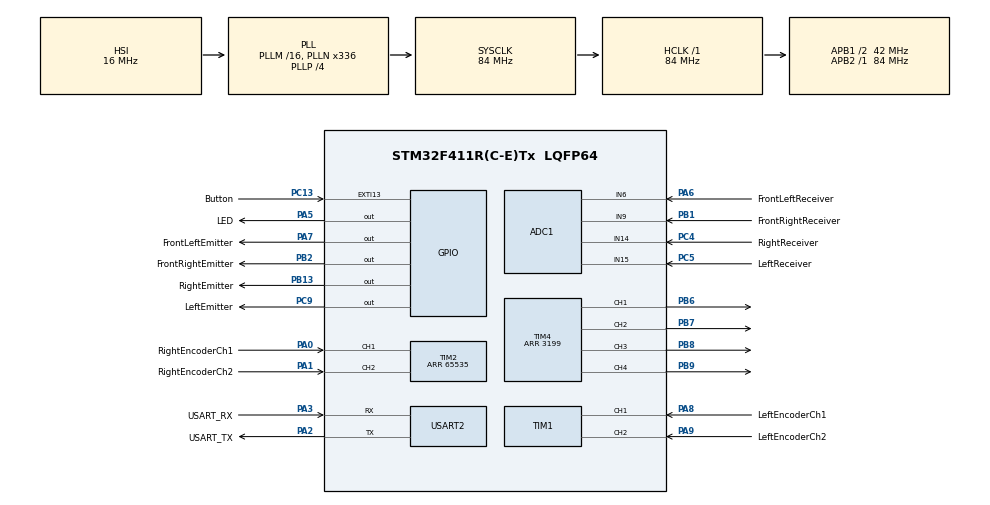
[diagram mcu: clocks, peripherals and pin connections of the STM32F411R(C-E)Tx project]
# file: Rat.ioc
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ADC1.Channel-0\#ChannelRegularConversion=ADC_CHANNEL_15
ADC1.ContinuousConvMode=ENABLE
ADC1.DMAContinuousRequests=ENABLE
ADC1.NbrOfConversionFlag=1
ADC1.Rank-0\#ChannelRegularConversion=1
ADC1.SamplingTime-0\#ChannelRegularConversion=ADC_SAMPLETIME_3CYCLES
ADC1.master=1
Dma.ADC1.0.Direction=DMA_PERIPH_TO_MEMORY
Dma.ADC1.0.FIFOMode=DMA_FIFOMODE_DISABLE
Dma.ADC1.0.Instance=DMA2_Stream0
Dma.ADC1.0.MemDataAlignment=DMA_MDATAALIGN_HALFWORD
Dma.ADC1.0.MemInc=DMA_MINC_ENABLE
Dma.ADC1.0.Mode=DMA_CIRCULAR
Dma.ADC1.0.PeriphDataAlignment=DMA_PDATAALIGN_HALFWORD
Dma.ADC1.0.PeriphInc=DMA_PINC_DISABLE
Dma.ADC1.0.Priority=DMA_PRIORITY_LOW
Dma.Request0=ADC1
Mcu.Family=STM32F4
Mcu.Name=STM32F411R(C-E)Tx
Mcu.Package=LQFP64
NVIC.DMA2_Stream0_IRQn=true\:0\:0\:false\:false\:true\:false\:true\:true
NVIC.EXTI15_10_IRQn=true\:0\:0\:false\:false\:true\:true\:true\:true
NVIC.PriorityGroup=NVIC_PRIORITYGROUP_0
NVIC.TIM4_IRQn=true\:0\:0\:false\:false\:true\:true\:true\:true
PA0-WKUP.GPIO_Label=RightEncoderCh1
PA0-WKUP.Signal=S_TIM2_CH1_ETR
PA1.GPIO_Label=RightEncoderCh2
PA1.Signal=S_TIM2_CH2
PA13.GPIO_Label=TMS
PA13.Mode=Serial_Wire
PA13.Signal=SYS_JTMS-SWDIO
PA14.GPIO_Label=TCK
PA14.Mode=Serial_Wire
PA14.Signal=SYS_JTCK-SWCLK
PA2.GPIO_Label=USART_TX
PA2.Mode=Asynchronous
PA2.Signal=USART2_TX
PA3.GPIO_Label=USART_RX
PA3.Mode=Asynchronous
PA3.Signal=USART2_RX
PA5.GPIO_Label=LED
PA5.Signal=GPIO_Output
PA6.GPIO_Label=FrontLeftReceiver
PA6.Signal=ADCx_IN6
PA7.GPIO_Label=FrontLeftEmitter
PA7.Signal=GPIO_Output
PA8.GPIO_Label=LeftEncoderCh1
PA8.Signal=S_TIM1_CH1
PA9.GPIO_Label=LeftEncoderCh2
PA9.Signal=S_TIM1_CH2
PB1.GPIO_Label=FrontRightReceiver
PB1.Signal=ADCx_IN9
PB13.GPIO_Label=RightEmitter
PB13.Signal=GPIO_Output
PB2.GPIO_Label=FrontRightEmitter
PB2.Signal=GPIO_Output
PB3.GPIO_Label=SWO
PB3.Signal=SYS_JTDO-SWO
PB6.Signal=S_TIM4_CH1
PB7.Signal=S_TIM4_CH2
PB8.Signal=S_TIM4_CH3
PB9.Signal=S_TIM4_CH4
PC13-ANTI_TAMP.GPIO_Label=Button
PC13-ANTI_TAMP.GPIO_ModeDefaultEXTI=GPIO_MODE_IT_RISING_FALLING
PC13-ANTI_TAMP.Signal=GPXTI13
PC14-OSC32_IN.Mode=LSE-External-Oscillator
PC14-OSC32_IN.Signal=RCC_OSC32_IN
PC15-OSC32_OUT.Mode=LSE-External-Oscillator
PC15-OSC32_OUT.Signal=RCC_OSC32_OUT
PC4.GPIO_Label=RightReceiver
PC4.Signal=ADCx_IN14
PC5.GPIO_Label=LeftReceiver
PC5.Signal=ADCx_IN15
PC9.GPIO_Label=LeftEmitter
PC9.Signal=GPIO_Output
PH0\ -\ OSC_IN.Mode=HSE-External-Clock-Source
PH0\ -\ OSC_IN.Signal=RCC_OSC_IN
PH1\ -\ OSC_OUT.Mode=HSE-External-Clock-Source
PH1\ -\ OSC_OUT.Signal=RCC_OSC_OUT
ProjectManager.HeapSize=0x200
ProjectManager.StackSize=0x400
ProjectManager.TargetToolchain=STM32CubeIDE
RCC.48MHZClocksFreq_Value=84000000
RCC.AHBFreq_Value=84000000
RCC.APB1CLKDivider=RCC_HCLK_DIV2
RCC.APB1Freq_Value=42000000
RCC.APB1TimFreq_Value=84000000
RCC.APB2Freq_Value=84000000
RCC.APB2TimFreq_Value=84000000
RCC.CortexFreq_Value=84000000
RCC.FLatency-AdvancedSettings=FLASH_LATENCY_2
RCC.HCLKFreq_Value=84000000
RCC.HSE_VALUE=8000000
RCC.HSI_VALUE=16000000
RCC.PLLN=336
RCC.PLLP=RCC_PLLP_DIV4
RCC.SYSCLKFreq_VALUE=84000000
RCC.SYSCLKSource=RCC_SYSCLKSOURCE_PLLCLK
RCC.VCOOutputFreq_Value=336000000
SH.ADCx_IN14.0=ADC1_IN14,IN14
SH.ADCx_IN15.0=ADC1_IN15,IN15
SH.ADCx_IN6.0=ADC1_IN6,IN6
SH.ADCx_IN9.0=ADC1_IN9,IN9
SH.S_TIM1_CH1.0=TIM1_CH1,Encoder_Interface
SH.S_TIM1_CH2.0=TIM1_CH2,Encoder_Interface
SH.S_TIM2_CH1_ETR.0=TIM2_CH1,Encoder_Interface
SH.S_TIM2_CH2.0=TIM2_CH2,Encoder_Interface
SH.S_TIM4_CH1.0=TIM4_CH1,PWM Generation1 CH1
SH.S_TIM4_CH2.0=TIM4_CH2,PWM Generation2 CH2
SH.S_TIM4_CH3.0=TIM4_CH3,PWM Generation3 CH3
SH.S_TIM4_CH4.0=TIM4_CH4,PWM Generation4 CH4
TIM1.EncoderMode=TIM_ENCODERMODE_TI12
TIM2.EncoderMode=TIM_ENCODERMODE_TI12
TIM2.Period=65535
TIM4.Channel-PWM\ Generation1\ CH1=TIM_CHANNEL_1
TIM4.Channel-PWM\ Generation2\ CH2=TIM_CHANNEL_2
TIM4.Channel-PWM\ Generation3\ CH3=TIM_CHANNEL_3
TIM4.Channel-PWM\ Generation4\ CH4=TIM_CHANNEL_4
TIM4.Period=3199
USART2.VirtualMode=VM_ASYNC
board=NUCLEO-F411RE

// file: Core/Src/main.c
/* USER CODE BEGIN Header */
/**
  ******************************************************************************
  * @file           : main.c
  * @brief          : Main program body
  ******************************************************************************
  * @attention
  *
  * Copyright (c) 2022 STMicroelectronics.
  * All rights reserved.
  *
  * This software is licensed under terms that can be found in the LICENSE file
  * in the root directory of this software component.
  * If no LICENSE file comes with this software, it is provided AS-IS.
  *
  ******************************************************************************
  */
/* USER CODE END Header */
#include "main.h"

/* USER CODE BEGIN Includes */
#include "encoders.h"
#include "motors.h"
#include "controller.h"
#include "delay.h"
#include "irs.h"
#include "pid.h"
/* USER CODE END Includes */

ADC_HandleTypeDef hadc1;
DMA_HandleTypeDef hdma_adc1;

TIM_HandleTypeDef htim1;
TIM_HandleTypeDef htim2;
TIM_HandleTypeDef htim4;

UART_HandleTypeDef huart2;

/* USER CODE BEGIN PV */
int16_t left_counts = 0;
int16_t right_counts = 0;

uint16_t ir_front_left = 0;
uint16_t ir_front_right = 0;

uint16_t ir_right = 0;
uint16_t ir_left = 0;

/* USER CODE END PV */

void SystemClock_Config(void);
static void MX_GPIO_Init(void);
static void MX_DMA_Init(void);
static void MX_USART2_UART_Init(void);
static void MX_TIM1_Init(void);
static void MX_TIM2_Init(void);
static void MX_TIM4_Init(void);
static void MX_ADC1_Init(void);

int main(void)
{

  /* MCU Configuration--------------------------------------------------------*/

  /* Reset of all peripherals, Initializes the Flash interface and the Systick. */
  HAL_Init();

  /* USER CODE BEGIN Init */
  Delay_Init();
  /* USER CODE END Init */

  /* Configure the system clock */
  SystemClock_Config();

  /* Initialize all configured peripherals */
  MX_GPIO_Init();
  MX_DMA_Init();
  MX_USART2_UART_Init();
  MX_TIM1_Init();
  MX_TIM2_Init();
  MX_TIM4_Init();
  MX_ADC1_Init();
  /* USER CODE BEGIN 2 */

  HAL_TIM_Encoder_Start(&htim1, TIM_CHANNEL_ALL);
  HAL_TIM_Encoder_Start(&htim2, TIM_CHANNEL_ALL);

  HAL_TIM_PWM_Start(&htim4, TIM_CHANNEL_1);
  HAL_TIM_PWM_Start(&htim4, TIM_CHANNEL_2);
  HAL_TIM_PWM_Start(&htim4, TIM_CHANNEL_3);
  HAL_TIM_PWM_Start(&htim4, TIM_CHANNEL_4);

//  setMotorRPWM(0.3);
//  setMotorLPWM(0.3);
  /* USER CODE END 2 */

  /* Infinite loop */
  /* USER CODE BEGIN WHILE */

//  move(1);
//  turn(1);
//  move(1);
//
//  if(readIR(IR_FRONT_LEFT) < 1500 && readIR(IR_FRONT_RIGHT) < 1500) { //2000 isn't a real number I made that up
// 		  move(1);
// 	  } else if(readIR(IR_RIGHT) < 1500) {
// 		  turn(1);
// 	  } else {
// 		  turn(-1);
// 	  }

  while (1)
  {
	  left_counts = getLeftEncoderCounts();
	  right_counts = getRightEncoderCounts();

	  ir_front_left = readIR(IR_FRONT_LEFT);
	  ir_front_right = readIR(IR_FRONT_RIGHT);
	  ir_left = readIR(IR_LEFT);
	  ir_right = readIR(IR_RIGHT);

//	  move(1);
//	  turn(1);
//	  turn(-1);

	  if(readIR(IR_FRONT_LEFT) < 1150 && readIR(IR_FRONT_RIGHT) < 1150) { //2000 isn't a real number I made that up
		  move(1);
	  } else if(readIR(IR_RIGHT) < 1150) {
		  turn(1);
	  } else {
		  turn(-1);
	  }

    /* USER CODE END WHILE */

  }
}

void SystemClock_Config(void)
{
  RCC_OscInitTypeDef RCC_OscInitStruct = {0};
  RCC_ClkInitTypeDef RCC_ClkInitStruct = {0};

  /** Configure the main internal regulator output voltage
  */
  __HAL_RCC_PWR_CLK_ENABLE();
  __HAL_PWR_VOLTAGESCALING_CONFIG(PWR_REGULATOR_VOLTAGE_SCALE1);

  /** Initializes the RCC Oscillators according to the specified parameters
  * in the RCC_OscInitTypeDef structure.
  */
  RCC_OscInitStruct.OscillatorType = RCC_OSCILLATORTYPE_HSI;
  RCC_OscInitStruct.HSIState = RCC_HSI_ON;
  RCC_OscInitStruct.HSICalibrationValue = RCC_HSICALIBRATION_DEFAULT;
  RCC_OscInitStruct.PLL.PLLState = RCC_PLL_ON;
  RCC_OscInitStruct.PLL.PLLSource = RCC_PLLSOURCE_HSI;
  RCC_OscInitStruct.PLL.PLLM = 16;
  RCC_OscInitStruct.PLL.PLLN = 336;
  RCC_OscInitStruct.PLL.PLLP = RCC_PLLP_DIV4;
  RCC_OscInitStruct.PLL.PLLQ = 4;
  if (HAL_RCC_OscConfig(&RCC_OscInitStruct) != HAL_OK)
  {
    Error_Handler();
  }

  /** Initializes the CPU, AHB and APB buses clocks
  */
  RCC_ClkInitStruct.ClockType = RCC_CLOCKTYPE_HCLK|RCC_CLOCKTYPE_SYSCLK
                              |RCC_CLOCKTYPE_PCLK1|RCC_CLOCKTYPE_PCLK2;
  RCC_ClkInitStruct.SYSCLKSource = RCC_SYSCLKSOURCE_PLLCLK;
  RCC_ClkInitStruct.AHBCLKDivider = RCC_SYSCLK_DIV1;
  RCC_ClkInitStruct.APB1CLKDivider = RCC_HCLK_DIV2;
  RCC_ClkInitStruct.APB2CLKDivider = RCC_HCLK_DIV1;

  if (HAL_RCC_ClockConfig(&RCC_ClkInitStruct, FLASH_LATENCY_2) != HAL_OK)
  {
    Error_Handler();
  }
}

static void MX_ADC1_Init(void)
{

  ADC_ChannelConfTypeDef sConfig = {0};

  /** Configure the global features of the ADC (Clock, Resolution, Data Alignment and number of conversion)
  */
  hadc1.Instance = ADC1;
  hadc1.Init.ClockPrescaler = ADC_CLOCK_SYNC_PCLK_DIV4;
  hadc1.Init.Resolution = ADC_RESOLUTION_12B;
  hadc1.Init.ScanConvMode = DISABLE;
  hadc1.Init.ContinuousConvMode = ENABLE;
  hadc1.Init.DiscontinuousConvMode = DISABLE;
  hadc1.Init.ExternalTrigConvEdge = ADC_EXTERNALTRIGCONVEDGE_NONE;
  hadc1.Init.ExternalTrigConv = ADC_SOFTWARE_START;
  hadc1.Init.DataAlign = ADC_DATAALIGN_RIGHT;
  hadc1.Init.NbrOfConversion = 1;
  hadc1.Init.DMAContinuousRequests = ENABLE;
  hadc1.Init.EOCSelection = ADC_EOC_SINGLE_CONV;
  if (HAL_ADC_Init(&hadc1) != HAL_OK)
  {
    Error_Handler();
  }

  /** Configure for the selected ADC regular channel its corresponding rank in the sequencer and its sample time.
  */
  sConfig.Channel = ADC_CHANNEL_15;
  sConfig.Rank = 1;
  sConfig.SamplingTime = ADC_SAMPLETIME_3CYCLES;
  if (HAL_ADC_ConfigChannel(&hadc1, &sConfig) != HAL_OK)
  {
    Error_Handler();
  }

}

static void MX_TIM1_Init(void)
{

  TIM_Encoder_InitTypeDef sConfig = {0};
  TIM_MasterConfigTypeDef sMasterConfig = {0};

  htim1.Instance = TIM1;
  htim1.Init.Prescaler = 0;
  htim1.Init.CounterMode = TIM_COUNTERMODE_UP;
  htim1.Init.Period = 65535;
  htim1.Init.ClockDivision = TIM_CLOCKDIVISION_DIV1;
  htim1.Init.RepetitionCounter = 0;
  htim1.Init.AutoReloadPreload = TIM_AUTORELOAD_PRELOAD_DISABLE;
  sConfig.EncoderMode = TIM_ENCODERMODE_TI12;
  sConfig.IC1Polarity = TIM_ICPOLARITY_RISING;
  sConfig.IC1Selection = TIM_ICSELECTION_DIRECTTI;
  sConfig.IC1Prescaler = TIM_ICPSC_DIV1;
  sConfig.IC1Filter = 0;
  sConfig.IC2Polarity = TIM_ICPOLARITY_RISING;
  sConfig.IC2Selection = TIM_ICSELECTION_DIRECTTI;
  sConfig.IC2Prescaler = TIM_ICPSC_DIV1;
  sConfig.IC2Filter = 0;
  if (HAL_TIM_Encoder_Init(&htim1, &sConfig) != HAL_OK)
  {
    Error_Handler();
  }
  sMasterConfig.MasterOutputTrigger = TIM_TRGO_RESET;
  sMasterConfig.MasterSlaveMode = TIM_MASTERSLAVEMODE_DISABLE;
  if (HAL_TIMEx_MasterConfigSynchronization(&htim1, &sMasterConfig) != HAL_OK)
  {
    Error_Handler();
  }

}

static void MX_TIM2_Init(void)
{

  TIM_Encoder_InitTypeDef sConfig = {0};
  TIM_MasterConfigTypeDef sMasterConfig = {0};

  htim2.Instance = TIM2;
  htim2.Init.Prescaler = 0;
  htim2.Init.CounterMode = TIM_COUNTERMODE_UP;
  htim2.Init.Period = 65535;
  htim2.Init.ClockDivision = TIM_CLOCKDIVISION_DIV1;
  htim2.Init.AutoReloadPreload = TIM_AUTORELOAD_PRELOAD_DISABLE;
  sConfig.EncoderMode = TIM_ENCODERMODE_TI12;
  sConfig.IC1Polarity = TIM_ICPOLARITY_RISING;
  sConfig.IC1Selection = TIM_ICSELECTION_DIRECTTI;
  sConfig.IC1Prescaler = TIM_ICPSC_DIV1;
  sConfig.IC1Filter = 0;
  sConfig.IC2Polarity = TIM_ICPOLARITY_RISING;
  sConfig.IC2Selection = TIM_ICSELECTION_DIRECTTI;
  sConfig.IC2Prescaler = TIM_ICPSC_DIV1;
  sConfig.IC2Filter = 0;
  if (HAL_TIM_Encoder_Init(&htim2, &sConfig) != HAL_OK)
  {
    Error_Handler();
  }
  sMasterConfig.MasterOutputTrigger = TIM_TRGO_RESET;
  sMasterConfig.MasterSlaveMode = TIM_MASTERSLAVEMODE_DISABLE;
  if (HAL_TIMEx_MasterConfigSynchronization(&htim2, &sMasterConfig) != HAL_OK)
  {
    Error_Handler();
  }

}

static void MX_TIM4_Init(void)
{

  TIM_MasterConfigTypeDef sMasterConfig = {0};
  TIM_OC_InitTypeDef sConfigOC = {0};

  htim4.Instance = TIM4;
  htim4.Init.Prescaler = 0;
  htim4.Init.CounterMode = TIM_COUNTERMODE_UP;
  htim4.Init.Period = 3199;
  htim4.Init.ClockDivision = TIM_CLOCKDIVISION_DIV1;
  htim4.Init.AutoReloadPreload = TIM_AUTORELOAD_PRELOAD_DISABLE;
  if (HAL_TIM_PWM_Init(&htim4) != HAL_OK)
  {
    Error_Handler();
  }
  sMasterConfig.MasterOutputTrigger = TIM_TRGO_RESET;
  sMasterConfig.MasterSlaveMode = TIM_MASTERSLAVEMODE_DISABLE;
  if (HAL_TIMEx_MasterConfigSynchronization(&htim4, &sMasterConfig) != HAL_OK)
  {
    Error_Handler();
  }
  sConfigOC.OCMode = TIM_OCMODE_PWM1;
  sConfigOC.Pulse = 0;
  sConfigOC.OCPolarity = TIM_OCPOLARITY_HIGH;
  sConfigOC.OCFastMode = TIM_OCFAST_DISABLE;
  if (HAL_TIM_PWM_ConfigChannel(&htim4, &sConfigOC, TIM_CHANNEL_1) != HAL_OK)
  {
    Error_Handler();
  }
  if (HAL_TIM_PWM_ConfigChannel(&htim4, &sConfigOC, TIM_CHANNEL_2) != HAL_OK)
  {
    Error_Handler();
  }
  if (HAL_TIM_PWM_ConfigChannel(&htim4, &sConfigOC, TIM_CHANNEL_3) != HAL_OK)
  {
    Error_Handler();
  }
  if (HAL_TIM_PWM_ConfigChannel(&htim4, &sConfigOC, TIM_CHANNEL_4) != HAL_OK)
  {
    Error_Handler();
  }
  HAL_TIM_MspPostInit(&htim4);

}

static void MX_USART2_UART_Init(void)
{

  huart2.Instance = USART2;
  huart2.Init.BaudRate = 115200;
  huart2.Init.WordLength = UART_WORDLENGTH_8B;
  huart2.Init.StopBits = UART_STOPBITS_1;
  huart2.Init.Parity = UART_PARITY_NONE;
  huart2.Init.Mode = UART_MODE_TX_RX;
  huart2.Init.HwFlowCtl = UART_HWCONTROL_NONE;
  huart2.Init.OverSampling = UART_OVERSAMPLING_16;
  if (HAL_UART_Init(&huart2) != HAL_OK)
  {
    Error_Handler();
  }

}

static void MX_DMA_Init(void)
{

  /* DMA controller clock enable */
  __HAL_RCC_DMA2_CLK_ENABLE();

  /* DMA interrupt init */
  /* DMA2_Stream0_IRQn interrupt configuration */
  HAL_NVIC_SetPriority(DMA2_Stream0_IRQn, 0, 0);
  HAL_NVIC_EnableIRQ(DMA2_Stream0_IRQn);

}

static void MX_GPIO_Init(void)
{
  GPIO_InitTypeDef GPIO_InitStruct = {0};

  /* GPIO Ports Clock Enable */
  __HAL_RCC_GPIOC_CLK_ENABLE();
  __HAL_RCC_GPIOH_CLK_ENABLE();
  __HAL_RCC_GPIOA_CLK_ENABLE();
  __HAL_RCC_GPIOB_CLK_ENABLE();

  /*Configure GPIO pin Output Level */
  HAL_GPIO_WritePin(GPIOA, LED_Pin|FrontLeftEmitter_Pin, GPIO_PIN_RESET);

  /*Configure GPIO pin Output Level */
  HAL_GPIO_WritePin(GPIOB, FrontRightEmitter_Pin|RightEmitter_Pin, GPIO_PIN_RESET);

  /*Configure GPIO pin Output Level */
  HAL_GPIO_WritePin(LeftEmitter_GPIO_Port, LeftEmitter_Pin, GPIO_PIN_RESET);

  /*Configure GPIO pin : Button_Pin */
  GPIO_InitStruct.Pin = Button_Pin;
  GPIO_InitStruct.Mode = GPIO_MODE_IT_RISING_FALLING;
  GPIO_InitStruct.Pull = GPIO_NOPULL;
  HAL_GPIO_Init(Button_GPIO_Port, &GPIO_InitStruct);

  /*Configure GPIO pins : LED_Pin FrontLeftEmitter_Pin */
  GPIO_InitStruct.Pin = LED_Pin|FrontLeftEmitter_Pin;
  GPIO_InitStruct.Mode = GPIO_MODE_OUTPUT_PP;
  GPIO_InitStruct.Pull = GPIO_NOPULL;
  GPIO_InitStruct.Speed = GPIO_SPEED_FREQ_LOW;
  HAL_GPIO_Init(GPIOA, &GPIO_InitStruct);

  /*Configure GPIO pins : FrontRightEmitter_Pin RightEmitter_Pin */
  GPIO_InitStruct.Pin = FrontRightEmitter_Pin|RightEmitter_Pin;
  GPIO_InitStruct.Mode = GPIO_MODE_OUTPUT_PP;
  GPIO_InitStruct.Pull = GPIO_NOPULL;
  GPIO_InitStruct.Speed = GPIO_SPEED_FREQ_LOW;
  HAL_GPIO_Init(GPIOB, &GPIO_InitStruct);

  /*Configure GPIO pin : LeftEmitter_Pin */
  GPIO_InitStruct.Pin = LeftEmitter_Pin;
  GPIO_InitStruct.Mode = GPIO_MODE_OUTPUT_PP;
  GPIO_InitStruct.Pull = GPIO_NOPULL;
  GPIO_InitStruct.Speed = GPIO_SPEED_FREQ_LOW;
  HAL_GPIO_Init(LeftEmitter_GPIO_Port, &GPIO_InitStruct);

  /* EXTI interrupt init*/
  HAL_NVIC_SetPriority(EXTI15_10_IRQn, 0, 0);
  HAL_NVIC_EnableIRQ(EXTI15_10_IRQn);

}

/* USER CODE BEGIN 4 */
void HAL_GPIO_EXTI_Callback(uint16_t GPIO_PIN)
{
	if (GPIO_PIN == Button_Pin)
	{
		if(HAL_GPIO_ReadPin(Button_GPIO_Port, Button_Pin) == GPIO_PIN_SET)
		{
			HAL_GPIO_WritePin(LED_GPIO_Port, LED_Pin, GPIO_PIN_SET);
		}
		else
		{
			HAL_GPIO_WritePin(LED_GPIO_Port, LED_Pin, GPIO_PIN_RESET);
		}
	/* Your code goes here */
	}
}

ADC_HandleTypeDef* Get_HADC1_Ptr(void)
{
	return &hadc1;
}

/* USER CODE END 4 */

void Error_Handler(void)
{
  __disable_irq();
  while (1)
  {
  }
}
